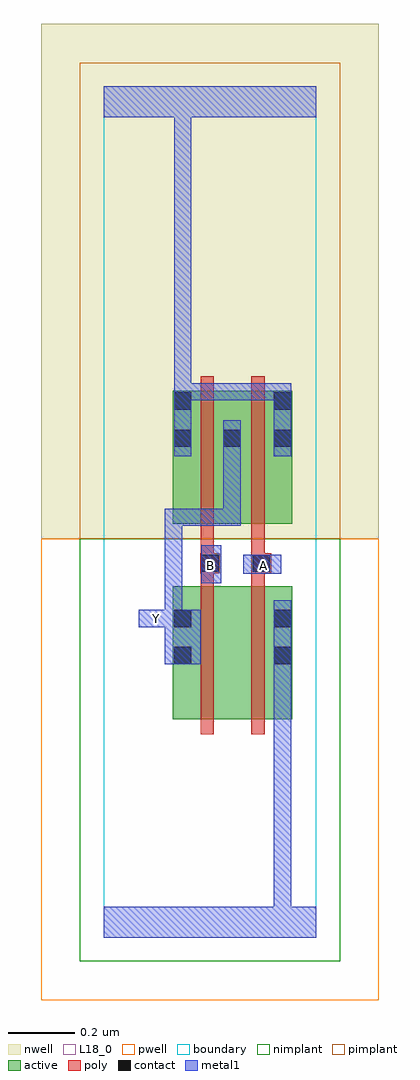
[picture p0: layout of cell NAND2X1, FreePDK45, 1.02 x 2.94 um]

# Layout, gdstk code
import gdstk
lib = gdstk.Library(unit=1e-6, precision=1e-09)
def R(c, l, rs):  # rectangles x0, y0, x1, y1
    for r in rs: c.add(gdstk.rectangle(r[:2], r[2:], *l))
active = (1, 0)
pwell = (2, 0)
nwell = (3, 0)
nimplant = (4, 0)
pimplant = (5, 0)
poly = (9, 0)
contact = (10, 0)
metal1 = (11, 0)
L18_0 = (18, 0)
boundary = (235, 0)

nand2x1 = lib.new_cell('NAND2X1')
R(nand2x1, active, [(0.208,0.656,0.388,1.056), (0.208,0.656,0.268,1.056), (0.388,0.656,0.568,1.056), (0.508,0.756,0.568,1.056), (0.208,1.244,0.268,1.644), (0.208,1.244,0.416,1.644), (0.356,1.244,0.416,1.644), (0.356,1.244,0.568,1.644), (0.508,1.244,0.568,1.644)])
R(nand2x1, pwell, [(-0.188,-0.188,0.828,1.2)])
R(nand2x1, nwell, [(-0.188,1.2,0.828,2.748)])
R(nand2x1, nimplant, [(-0.072,-0.072,0.712,1.2)])
R(nand2x1, pimplant, [(-0.072,1.2,0.712,2.632)])
R(nand2x1, poly, [(0.292,0.612,0.332,1.1), (0.444,0.612,0.484,1.1), (0.292,1.06,0.332,1.136), (0.444,1.06,0.484,1.136), (0.29,1.096,0.35,1.156), (0.444,1.096,0.504,1.156), (0.292,1.116,0.332,1.24), (0.292,1.116,0.332,1.156), (0.292,1.116,0.332,1.156), (0.444,1.116,0.484,1.24), (0.444,1.116,0.484,1.156), (0.444,1.116,0.484,1.156), (0.292,1.2,0.332,1.688), (0.444,1.2,0.484,1.688)])
R(nand2x1, contact, [(0.212,0.822,0.264,0.874), (0.512,0.822,0.564,0.874), (0.212,0.934,0.264,0.986), (0.512,0.934,0.564,0.986), (0.294,1.1,0.346,1.152), (0.448,1.1,0.5,1.152), (0.212,1.476,0.264,1.528), (0.36,1.476,0.412,1.528), (0.512,1.476,0.564,1.528), (0.212,1.588,0.264,1.64), (0.512,1.588,0.564,1.64)])
R(nand2x1, metal1, [(0,0,0.64,0.092), (0.512,0.04,0.564,0.092), (0.512,0.04,0.564,0.092), (0.512,0.04,0.564,0.092), (0.512,0.04,0.564,0.092), (0.512,0.04,0.564,0.092), (0.512,0.04,0.564,0.092), (0.512,0.04,0.564,0.092), (0.512,0.04,0.564,0.092), (0.512,0.04,0.564,0.092), (0.512,0.04,0.564,0.092), (0.512,0.04,0.564,0.846), (0.512,0.794,0.564,0.846), (0.512,0.794,0.564,0.846), (0.512,0.794,0.564,1.014), (0.184,0.822,0.292,0.986), (0.106,0.934,0.236,0.986), (0.184,0.934,0.236,0.986), (0.184,0.934,0.236,1.29), (0.294,1.066,0.354,1.18), (0.42,1.094,0.534,1.152), (0.184,1.238,0.236,1.29), (0.184,1.238,0.236,1.29), (0.184,1.238,0.236,1.29), (0.184,1.238,0.412,1.29), (0.36,1.238,0.412,1.29), (0.36,1.238,0.412,1.5), (0.212,1.448,0.264,1.668), (0.36,1.448,0.412,1.556), (0.512,1.448,0.564,1.668), (0.212,1.616,0.264,1.668), (0.212,1.616,0.264,1.668), (0.212,1.616,0.454,1.668), (0.212,1.616,0.264,2.52), (0.402,1.616,0.454,1.668), (0.402,1.616,0.564,1.668), (0.512,1.616,0.564,1.668), (0.512,1.616,0.564,1.668), (0,2.468,0.64,2.56), (0.212,2.468,0.264,2.52), (0.212,2.468,0.264,2.52), (0.212,2.468,0.264,2.52), (0.212,2.468,0.264,2.52), (0.212,2.468,0.264,2.52), (0.212,2.468,0.264,2.52), (0.212,2.468,0.264,2.52), (0.212,2.468,0.264,2.52), (0.212,2.468,0.264,2.52), (0.212,2.468,0.264,2.52), (0.212,2.468,0.264,2.52), (0.212,2.468,0.264,2.52), (0.212,2.468,0.264,2.52), (0.212,2.468,0.264,2.52), (0.212,2.468,0.264,2.52), (0.212,2.468,0.264,2.52)])
R(nand2x1, L18_0, [(0,0,0.64,0.092), (0.512,0.04,0.564,0.092), (0.512,0.04,0.564,0.092), (0.512,0.04,0.564,0.092), (0.512,0.04,0.564,0.092), (0.512,0.04,0.564,0.092), (0.512,0.04,0.564,0.092), (0.512,0.04,0.564,0.092), (0.512,0.04,0.564,0.092), (0.512,0.04,0.564,0.092), (0.512,0.04,0.564,0.092), (0.512,0.04,0.564,0.846), (0.512,0.794,0.564,0.846), (0.512,0.794,0.564,0.846), (0.512,0.794,0.564,1.014), (0.184,0.822,0.292,0.986), (0.106,0.934,0.236,0.986), (0.134,0.934,0.186,0.986), (0.184,0.934,0.236,0.986), (0.184,0.934,0.236,1.29), (0.294,1.066,0.354,1.18), (0.294,1.094,0.346,1.146), (0.42,1.094,0.534,1.152), (0.454,1.094,0.506,1.146), (0.184,1.238,0.236,1.29), (0.184,1.238,0.236,1.29), (0.184,1.238,0.236,1.29), (0.184,1.238,0.412,1.29), (0.36,1.238,0.412,1.29), (0.36,1.238,0.412,1.5), (0.212,1.448,0.264,1.668), (0.36,1.448,0.412,1.556), (0.512,1.448,0.564,1.668), (0.212,1.616,0.264,1.668), (0.212,1.616,0.264,1.668), (0.212,1.616,0.264,2.52), (0.212,1.616,0.454,1.668), (0.402,1.616,0.454,1.668), (0.402,1.616,0.564,1.668), (0.512,1.616,0.564,1.668), (0.512,1.616,0.564,1.668), (0,2.468,0.64,2.56), (0.212,2.468,0.264,2.52), (0.212,2.468,0.264,2.52), (0.212,2.468,0.264,2.52), (0.212,2.468,0.264,2.52), (0.212,2.468,0.264,2.52), (0.212,2.468,0.264,2.52), (0.212,2.468,0.264,2.52), (0.212,2.468,0.264,2.52), (0.212,2.468,0.264,2.52), (0.212,2.468,0.264,2.52), (0.212,2.468,0.264,2.52), (0.212,2.468,0.264,2.52), (0.212,2.468,0.264,2.52), (0.212,2.468,0.264,2.52), (0.212,2.468,0.264,2.52), (0.212,2.468,0.264,2.52)])
R(nand2x1, boundary, [(0,0,0.64,2.56)])
nand2x1.add(gdstk.Label('A', (0.48,1.12), layer=11, texttype=0))
nand2x1.add(gdstk.Label('B', (0.32,1.12), layer=11, texttype=0))
nand2x1.add(gdstk.Label('Y', (0.16,0.96), layer=11, texttype=0))

lib.write_gds('NAND2X1.gds')
